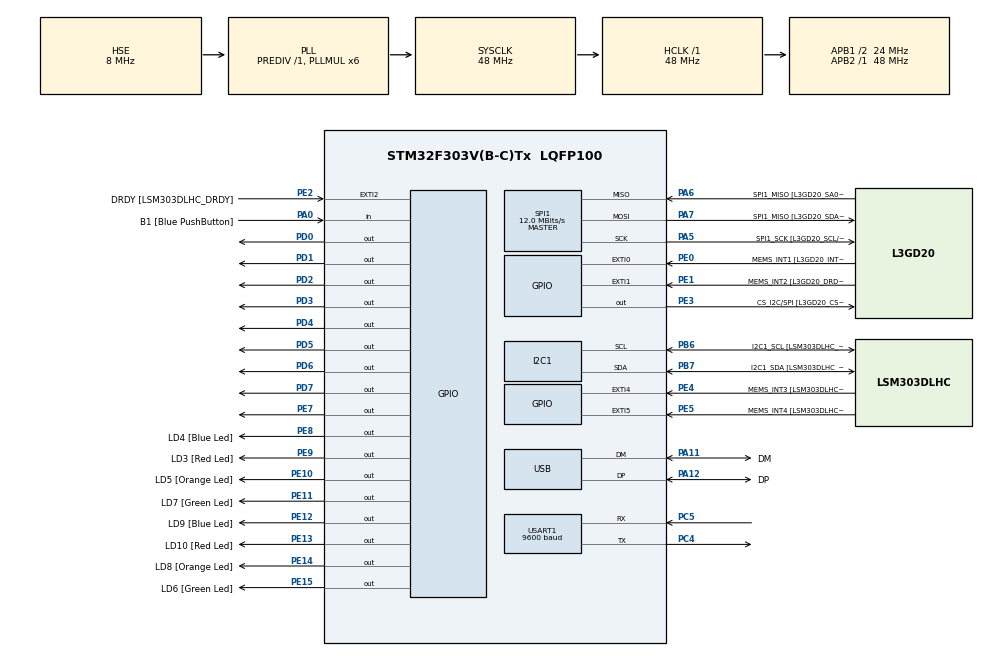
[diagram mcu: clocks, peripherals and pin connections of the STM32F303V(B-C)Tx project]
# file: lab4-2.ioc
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I2C1.Timing=0x2000090E
I2C1.Timing-I2C=0x2000090E
Mcu.Family=STM32F3
Mcu.Name=STM32F303V(B-C)Tx
Mcu.Package=LQFP100
NVIC.PriorityGroup=NVIC_PRIORITYGROUP_1
NVIC.TIM2_IRQn=true\:0\:0\:true\:false\:true\:true\:true\:true
NVIC.TIM4_IRQn=true\:0\:0\:true\:false\:true\:true\:true\:true
NVIC.USART1_IRQn=true\:0\:0\:true\:false\:true\:true\:true\:true
PA0.GPIO_Label=B1 [Blue PushButton]
PA0.Signal=GPIO_Input
PA11.GPIO_Label=DM
PA11.Mode=Device
PA11.Signal=USB_DM
PA12.GPIO_Label=DP
PA12.Mode=Device
PA12.Signal=USB_DP
PA13.GPIO_Label=SWDIO
PA13.Mode=Serial_Wire
PA13.Signal=SYS_JTMS-SWDIO
PA14.GPIO_Label=SWCLK
PA14.Mode=Serial_Wire
PA14.Signal=SYS_JTCK-SWCLK
PA5.GPIO_Label=SPI1_SCK [L3GD20_SCL/SPC]
PA5.Mode=Full_Duplex_Master
PA5.Signal=SPI1_SCK
PA6.GPIO_Label=SPI1_MISO [L3GD20_SA0/SDO]
PA6.Mode=Full_Duplex_Master
PA6.Signal=SPI1_MISO
PA7.GPIO_Label=SPI1_MISO [L3GD20_SDA/SDI/SDO]
PA7.Mode=Full_Duplex_Master
PA7.Signal=SPI1_MOSI
PB3.GPIO_Label=SWO
PB3.Signal=SYS_JTDO-TRACESWO
PB6.GPIO_Label=I2C1_SCL [LSM303DLHC_SCL]
PB6.GPIO_Pu=GPIO_PULLUP
PB6.Mode=I2C
PB6.Signal=I2C1_SCL
PB7.GPIO_Label=I2C1_SDA [LSM303DLHC_SDA]
PB7.GPIO_Pu=GPIO_PULLUP
PB7.Mode=I2C
PB7.Signal=I2C1_SDA
PC14-OSC32_IN.GPIO_Label=OSC32_IN
PC14-OSC32_IN.Signal=RCC_OSC32_IN
PC15-OSC32_OUT.GPIO_Label=OSC32_OUT
PC15-OSC32_OUT.Signal=RCC_OSC32_OUT
PC4.Mode=Asynchronous
PC4.Signal=USART1_TX
PC5.Mode=Asynchronous
PC5.Signal=USART1_RX
PD0.Signal=GPIO_Output
PD1.Signal=GPIO_Output
PD2.Signal=GPIO_Output
PD3.Signal=GPIO_Output
PD4.Signal=GPIO_Output
PD5.Signal=GPIO_Output
PD6.Signal=GPIO_Output
PD7.Signal=GPIO_Output
PE0.GPIO_Label=MEMS_INT1 [L3GD20_INT1]
PE0.GPIO_ModeDefaultEXTI=GPIO_MODE_EVT_RISING
PE0.Signal=GPXTI0
PE1.GPIO_Label=MEMS_INT2 [L3GD20_DRDY/INT2]
PE1.GPIO_ModeDefaultEXTI=GPIO_MODE_EVT_RISING
PE1.Signal=GPXTI1
PE10.GPIO_Label=LD5 [Orange Led]
PE10.Signal=GPIO_Output
PE11.GPIO_Label=LD7 [Green Led]
PE11.Signal=GPIO_Output
PE12.GPIO_Label=LD9 [Blue Led]
PE12.Signal=GPIO_Output
PE13.GPIO_Label=LD10 [Red Led]
PE13.Signal=GPIO_Output
PE14.GPIO_Label=LD8 [Orange Led]
PE14.Signal=GPIO_Output
PE15.GPIO_Label=LD6 [Green Led]
PE15.Signal=GPIO_Output
PE2.GPIO_Label=DRDY [LSM303DLHC_DRDY]
PE2.GPIO_ModeDefaultEXTI=GPIO_MODE_EVT_RISING
PE2.Signal=GPXTI2
PE3.GPIO_Label=CS_I2C/SPI [L3GD20_CS_I2C/SPI]
PE3.Signal=GPIO_Output
PE4.GPIO_Label=MEMS_INT3 [LSM303DLHC_INT1]
PE4.GPIO_ModeDefaultEXTI=GPIO_MODE_EVT_RISING
PE4.Signal=GPXTI4
PE5.GPIO_Label=MEMS_INT4 [LSM303DLHC_INT2]
PE5.GPIO_ModeDefaultEXTI=GPIO_MODE_EVT_RISING
PE5.Signal=GPXTI5
PE7.Signal=GPIO_Output
PE8.GPIO_Label=LD4 [Blue Led]
PE8.Signal=GPIO_Output
PE9.GPIO_Label=LD3 [Red Led]
PE9.Signal=GPIO_Output
PF0-OSC_IN.GPIO_Label=OSC_IN
PF0-OSC_IN.Mode=HSE-External-Clock-Source
PF0-OSC_IN.Signal=RCC_OSC_IN
PF1-OSC_OUT.GPIO_Label=OSC_OUT
PF1-OSC_OUT.Signal=RCC_OSC_OUT
ProjectManager.HeapSize=0x200
ProjectManager.StackSize=0x400
ProjectManager.TargetToolchain=STM32CubeIDE
RCC.AHBFreq_Value=48000000
RCC.APB1CLKDivider=RCC_HCLK_DIV2
RCC.APB1Freq_Value=24000000
RCC.APB1TimFreq_Value=48000000
RCC.APB2Freq_Value=48000000
RCC.APB2TimFreq_Value=48000000
RCC.CortexFreq_Value=48000000
RCC.HCLKFreq_Value=48000000
RCC.HSE_VALUE=8000000
RCC.HSI_VALUE=8000000
RCC.LSE_VALUE=32768
RCC.PLLMUL=RCC_PLL_MUL6
RCC.SYSCLKFreq_VALUE=48000000
RCC.SYSCLKSourceVirtual=RCC_SYSCLKSOURCE_PLLCLK
RCC.USBFreq_Value=48000000
SPI1.BaudRatePrescaler=SPI_BAUDRATEPRESCALER_4
SPI1.BaudRatePrescaler-Full_Duplex_Master=SPI_BAUDRATEPRESCALER_2
SPI1.CalculateBaudRate=12.0 MBits/s
SPI1.CalculateBaudRate-Full_Duplex_Master=24.0 MBits/s
SPI1.Direction=SPI_DIRECTION_2LINES
SPI1.Mode=SPI_MODE_MASTER
SPI1.Mode-Full_Duplex_Master=SPI_MODE_MASTER
SPI1.VirtualType=VM_MASTER
TIM2.Period=99
TIM2.Prescaler=47
TIM4.Period=10000
TIM4.Prescaler=2399
USART1.BaudRate=9600
USART1.VirtualMode-Asynchronous=VM_ASYNC
VP_TIM2_VS_ClockSourceINT.Mode=Internal
VP_TIM4_VS_ClockSourceINT.Mode=Internal
board=STM32F3DISCOVERY

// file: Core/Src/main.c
/* USER CODE BEGIN Header */
/**
  ******************************************************************************
  * @file           : main.c
  * @brief          : Main program body
  ******************************************************************************
  * @attention
  *
  * Copyright (c) 2023 STMicroelectronics.
  * All rights reserved.
  *
  * This software is licensed under terms that can be found in the LICENSE file
  * in the root directory of this software component.
  * If no LICENSE file comes with this software, it is provided AS-IS.
  *
  ******************************************************************************
  */
/* USER CODE END Header */
#include "main.h"

/* USER CODE BEGIN Includes */
#include <stdio.h>
#include <string.h>
/* USER CODE END Includes */

I2C_HandleTypeDef hi2c1;

SPI_HandleTypeDef hspi1;

TIM_HandleTypeDef htim2;
TIM_HandleTypeDef htim4;

UART_HandleTypeDef huart1;

PCD_HandleTypeDef hpcd_USB_FS;

void SystemClock_Config(void);
static void MX_GPIO_Init(void);
static void MX_I2C1_Init(void);
static void MX_SPI1_Init(void);
static void MX_USB_PCD_Init(void);
static void MX_TIM2_Init(void);
static void MX_USART1_UART_Init(void);
static void MX_TIM4_Init(void);

/* USER CODE BEGIN 0 */

unsigned char data[1];
extern int count;
unsigned char buffer[20]="";
unsigned char sentence_1[20]="";
unsigned char sentence_2[20]="";
//unsigned char sentence_1[20]="hi daan its alex";
//unsigned char sentence_2[20]="hi alex Im dan";

extern int sentence_counter = 0;
extern int input_completed = 0;
extern int is_similar = 0;
extern double similarity_percentage = 0;
extern int number_of_words1=0;
extern int number_of_words2=0;

int position = 0;

int contains(char *string1, char *string2) {
    if (strstr(string1, string2) != NULL) {
        return 1;
    } else {
        return 0;
    }
}

//double jaro_winkler_similarity(char* s1, char* s2) {
double jaro_winkler_similarity(unsigned char s1[20], unsigned char s2[20]) {
    int len1 = strlen(s1);
    int len2 = strlen(s2);

	HAL_UART_Transmit(&huart1, s1, len1, 1000);
	HAL_UART_Transmit(&huart1, s2, len2, 1000);

    // calculate matching distance
    int match_distance = (len1 + len2) / 2 - 1;
    int matches = 0;
    int transpositions = 0;
    for (int i = 0; i < len1; i++) {
        for (int j = i - match_distance; j <= i + match_distance; j++) {
            if (j >= 0 && j < len2 && s1[i] == s2[j]) {
                matches++;
                if (i != j) {
                    transpositions++;
                }
                break;
            }
        }
    }

    // calculate Jaro distance
    double jaro_distance = matches / (double)len1;
    if (matches == 0) {
        return jaro_distance;
    }

    // calculate Jaro-Winkler distance
    double prefix_scale_factor = 0.1;
    int prefix_length = 0;
    while (prefix_length < len1 && prefix_length < len2 && s1[prefix_length] == s2[prefix_length]) {
        prefix_length++;
    }

    double winkler_factor = prefix_scale_factor * prefix_length * (1 - jaro_distance);

    return jaro_distance + winkler_factor;
}

int countWords(unsigned char sentence[]) {
    int count = 0;
    int i = 0;
    while (sentence[i] != '\0') {
        if (sentence[i] == ' ') {
            count++;
        }
        i++;
    }
    return count + 1; // add one for the last word
}

void HAL_UART_RxCpltCallback(UART_HandleTypeDef *huart){
	if (huart->Instance == USART1) {
//		if (data[0] != 0x0D) {
		if ((int)data[0] != 13) {
			buffer[position] = data[0];
			buffer[++position] = '\0';
//			HAL_UART_Transmit(&huart1, data, sizeof(data), 1000);

//			position++;
//		}else if (data[0] == 0x0D) {
		}else if ((int)data[0] == 13) {
//			HAL_UART_Transmit(&huart1, buffer, position, 1000);

			switch(sentence_counter){
				case 0:
					strcpy(sentence_1, buffer);
					HAL_GPIO_WritePin(GPIOE, GPIO_PIN_13, 1);

					sentence_counter=1;
//					HAL_UART_Transmit(&huart1, sentence_1, position, 1000);
					break;

				case 1:

					HAL_GPIO_WritePin(GPIOE, GPIO_PIN_14, 1);

					strcpy(sentence_2, buffer);

//					HAL_UART_Transmit(&huart1, sentence_2, position, 1000);

					input_completed = 1;
					similarity_percentage = jaro_winkler_similarity(sentence_1, sentence_2) * 100;
					if(similarity_percentage == 100){
						similarity_percentage = 99.99;
					}
//					similarity_percentage = 91.4523423;

					if(similarity_percentage >= 60){
						is_similar = 1;
					}else{
						is_similar = 0;
					}
					is_similar = 1;
					number_of_words1 = 2*countWords(sentence_1);
					number_of_words2 = 2*countWords(sentence_2);

					break;

			}

			position = 0;
		}
	}
	HAL_UART_Receive_IT(&huart1, data, 1);

}

/* USER CODE END 0 */

int main(void)
{

  /* MCU Configuration--------------------------------------------------------*/

  /* Reset of all peripherals, Initializes the Flash interface and the Systick. */
  HAL_Init();

  /* Configure the system clock */
  SystemClock_Config();

  /* Initialize all configured peripherals */
  MX_GPIO_Init();
  MX_I2C1_Init();
  MX_SPI1_Init();
  MX_USB_PCD_Init();
  MX_TIM2_Init();
  MX_USART1_UART_Init();
  MX_TIM4_Init();
  /* USER CODE BEGIN 2 */
  HAL_TIM_Base_Start_IT(&htim2);
  HAL_TIM_Base_Start_IT(&htim4);
  HAL_UART_Receive_IT(&huart1, data, 1);
//  HAL_UART_Receive_IT(&huart2, str, 100);
  /* USER CODE END 2 */

  /* Infinite loop */
  while (1)
  {

  }
}

void SystemClock_Config(void)
{
  RCC_OscInitTypeDef RCC_OscInitStruct = {0};
  RCC_ClkInitTypeDef RCC_ClkInitStruct = {0};
  RCC_PeriphCLKInitTypeDef PeriphClkInit = {0};

  /** Initializes the RCC Oscillators according to the specified parameters
  * in the RCC_OscInitTypeDef structure.
  */
  RCC_OscInitStruct.OscillatorType = RCC_OSCILLATORTYPE_HSI|RCC_OSCILLATORTYPE_HSE;
  RCC_OscInitStruct.HSEState = RCC_HSE_BYPASS;
  RCC_OscInitStruct.HSEPredivValue = RCC_HSE_PREDIV_DIV1;
  RCC_OscInitStruct.HSIState = RCC_HSI_ON;
  RCC_OscInitStruct.HSICalibrationValue = RCC_HSICALIBRATION_DEFAULT;
  RCC_OscInitStruct.PLL.PLLState = RCC_PLL_ON;
  RCC_OscInitStruct.PLL.PLLSource = RCC_PLLSOURCE_HSE;
  RCC_OscInitStruct.PLL.PLLMUL = RCC_PLL_MUL6;
  if (HAL_RCC_OscConfig(&RCC_OscInitStruct) != HAL_OK)
  {
    Error_Handler();
  }

  /** Initializes the CPU, AHB and APB buses clocks
  */
  RCC_ClkInitStruct.ClockType = RCC_CLOCKTYPE_HCLK|RCC_CLOCKTYPE_SYSCLK
                              |RCC_CLOCKTYPE_PCLK1|RCC_CLOCKTYPE_PCLK2;
  RCC_ClkInitStruct.SYSCLKSource = RCC_SYSCLKSOURCE_PLLCLK;
  RCC_ClkInitStruct.AHBCLKDivider = RCC_SYSCLK_DIV1;
  RCC_ClkInitStruct.APB1CLKDivider = RCC_HCLK_DIV2;
  RCC_ClkInitStruct.APB2CLKDivider = RCC_HCLK_DIV1;

  if (HAL_RCC_ClockConfig(&RCC_ClkInitStruct, FLASH_LATENCY_1) != HAL_OK)
  {
    Error_Handler();
  }
  PeriphClkInit.PeriphClockSelection = RCC_PERIPHCLK_USB|RCC_PERIPHCLK_USART1
                              |RCC_PERIPHCLK_I2C1;
  PeriphClkInit.Usart1ClockSelection = RCC_USART1CLKSOURCE_PCLK2;
  PeriphClkInit.I2c1ClockSelection = RCC_I2C1CLKSOURCE_HSI;
  PeriphClkInit.USBClockSelection = RCC_USBCLKSOURCE_PLL;
  if (HAL_RCCEx_PeriphCLKConfig(&PeriphClkInit) != HAL_OK)
  {
    Error_Handler();
  }
}

static void MX_I2C1_Init(void)
{

  hi2c1.Instance = I2C1;
  hi2c1.Init.Timing = 0x2000090E;
  hi2c1.Init.OwnAddress1 = 0;
  hi2c1.Init.AddressingMode = I2C_ADDRESSINGMODE_7BIT;
  hi2c1.Init.DualAddressMode = I2C_DUALADDRESS_DISABLE;
  hi2c1.Init.OwnAddress2 = 0;
  hi2c1.Init.OwnAddress2Masks = I2C_OA2_NOMASK;
  hi2c1.Init.GeneralCallMode = I2C_GENERALCALL_DISABLE;
  hi2c1.Init.NoStretchMode = I2C_NOSTRETCH_DISABLE;
  if (HAL_I2C_Init(&hi2c1) != HAL_OK)
  {
    Error_Handler();
  }

  /** Configure Analogue filter
  */
  if (HAL_I2CEx_ConfigAnalogFilter(&hi2c1, I2C_ANALOGFILTER_ENABLE) != HAL_OK)
  {
    Error_Handler();
  }

  /** Configure Digital filter
  */
  if (HAL_I2CEx_ConfigDigitalFilter(&hi2c1, 0) != HAL_OK)
  {
    Error_Handler();
  }

}

static void MX_SPI1_Init(void)
{

  /* SPI1 parameter configuration*/
  hspi1.Instance = SPI1;
  hspi1.Init.Mode = SPI_MODE_MASTER;
  hspi1.Init.Direction = SPI_DIRECTION_2LINES;
  hspi1.Init.DataSize = SPI_DATASIZE_4BIT;
  hspi1.Init.CLKPolarity = SPI_POLARITY_LOW;
  hspi1.Init.CLKPhase = SPI_PHASE_1EDGE;
  hspi1.Init.NSS = SPI_NSS_SOFT;
  hspi1.Init.BaudRatePrescaler = SPI_BAUDRATEPRESCALER_4;
  hspi1.Init.FirstBit = SPI_FIRSTBIT_MSB;
  hspi1.Init.TIMode = SPI_TIMODE_DISABLE;
  hspi1.Init.CRCCalculation = SPI_CRCCALCULATION_DISABLE;
  hspi1.Init.CRCPolynomial = 7;
  hspi1.Init.CRCLength = SPI_CRC_LENGTH_DATASIZE;
  hspi1.Init.NSSPMode = SPI_NSS_PULSE_ENABLE;
  if (HAL_SPI_Init(&hspi1) != HAL_OK)
  {
    Error_Handler();
  }

}

static void MX_TIM2_Init(void)
{

  TIM_ClockConfigTypeDef sClockSourceConfig = {0};
  TIM_MasterConfigTypeDef sMasterConfig = {0};

  htim2.Instance = TIM2;
  htim2.Init.Prescaler = 47;
  htim2.Init.CounterMode = TIM_COUNTERMODE_UP;
  htim2.Init.Period = 99;
  htim2.Init.ClockDivision = TIM_CLOCKDIVISION_DIV1;
  htim2.Init.AutoReloadPreload = TIM_AUTORELOAD_PRELOAD_DISABLE;
  if (HAL_TIM_Base_Init(&htim2) != HAL_OK)
  {
    Error_Handler();
  }
  sClockSourceConfig.ClockSource = TIM_CLOCKSOURCE_INTERNAL;
  if (HAL_TIM_ConfigClockSource(&htim2, &sClockSourceConfig) != HAL_OK)
  {
    Error_Handler();
  }
  sMasterConfig.MasterOutputTrigger = TIM_TRGO_RESET;
  sMasterConfig.MasterSlaveMode = TIM_MASTERSLAVEMODE_DISABLE;
  if (HAL_TIMEx_MasterConfigSynchronization(&htim2, &sMasterConfig) != HAL_OK)
  {
    Error_Handler();
  }

}

static void MX_TIM4_Init(void)
{

  TIM_ClockConfigTypeDef sClockSourceConfig = {0};
  TIM_MasterConfigTypeDef sMasterConfig = {0};

  htim4.Instance = TIM4;
  htim4.Init.Prescaler = 2399;
  htim4.Init.CounterMode = TIM_COUNTERMODE_UP;
  htim4.Init.Period = 10000;
  htim4.Init.ClockDivision = TIM_CLOCKDIVISION_DIV1;
  htim4.Init.AutoReloadPreload = TIM_AUTORELOAD_PRELOAD_DISABLE;
  if (HAL_TIM_Base_Init(&htim4) != HAL_OK)
  {
    Error_Handler();
  }
  sClockSourceConfig.ClockSource = TIM_CLOCKSOURCE_INTERNAL;
  if (HAL_TIM_ConfigClockSource(&htim4, &sClockSourceConfig) != HAL_OK)
  {
    Error_Handler();
  }
  sMasterConfig.MasterOutputTrigger = TIM_TRGO_RESET;
  sMasterConfig.MasterSlaveMode = TIM_MASTERSLAVEMODE_DISABLE;
  if (HAL_TIMEx_MasterConfigSynchronization(&htim4, &sMasterConfig) != HAL_OK)
  {
    Error_Handler();
  }

}

static void MX_USART1_UART_Init(void)
{

  huart1.Instance = USART1;
  huart1.Init.BaudRate = 9600;
  huart1.Init.WordLength = UART_WORDLENGTH_8B;
  huart1.Init.StopBits = UART_STOPBITS_1;
  huart1.Init.Parity = UART_PARITY_NONE;
  huart1.Init.Mode = UART_MODE_TX_RX;
  huart1.Init.HwFlowCtl = UART_HWCONTROL_NONE;
  huart1.Init.OverSampling = UART_OVERSAMPLING_16;
  huart1.Init.OneBitSampling = UART_ONE_BIT_SAMPLE_DISABLE;
  huart1.AdvancedInit.AdvFeatureInit = UART_ADVFEATURE_NO_INIT;
  if (HAL_UART_Init(&huart1) != HAL_OK)
  {
    Error_Handler();
  }

}

static void MX_USB_PCD_Init(void)
{

  hpcd_USB_FS.Instance = USB;
  hpcd_USB_FS.Init.dev_endpoints = 8;
  hpcd_USB_FS.Init.speed = PCD_SPEED_FULL;
  hpcd_USB_FS.Init.phy_itface = PCD_PHY_EMBEDDED;
  hpcd_USB_FS.Init.low_power_enable = DISABLE;
  hpcd_USB_FS.Init.battery_charging_enable = DISABLE;
  if (HAL_PCD_Init(&hpcd_USB_FS) != HAL_OK)
  {
    Error_Handler();
  }

}

static void MX_GPIO_Init(void)
{
  GPIO_InitTypeDef GPIO_InitStruct = {0};

  /* GPIO Ports Clock Enable */
  __HAL_RCC_GPIOE_CLK_ENABLE();
  __HAL_RCC_GPIOC_CLK_ENABLE();
  __HAL_RCC_GPIOF_CLK_ENABLE();
  __HAL_RCC_GPIOA_CLK_ENABLE();
  __HAL_RCC_GPIOD_CLK_ENABLE();
  __HAL_RCC_GPIOB_CLK_ENABLE();

  /*Configure GPIO pin Output Level */
  HAL_GPIO_WritePin(GPIOE, CS_I2C_SPI_Pin|GPIO_PIN_7|LD4_Pin|LD3_Pin
                          |LD5_Pin|LD7_Pin|LD9_Pin|LD10_Pin
                          |LD8_Pin|LD6_Pin, GPIO_PIN_RESET);

  /*Configure GPIO pin Output Level */
  HAL_GPIO_WritePin(GPIOD, GPIO_PIN_0|GPIO_PIN_1|GPIO_PIN_2|GPIO_PIN_3
                          |GPIO_PIN_4|GPIO_PIN_5|GPIO_PIN_6|GPIO_PIN_7, GPIO_PIN_RESET);

  /*Configure GPIO pins : DRDY_Pin MEMS_INT3_Pin MEMS_INT4_Pin MEMS_INT1_Pin
                           MEMS_INT2_Pin */
  GPIO_InitStruct.Pin = DRDY_Pin|MEMS_INT3_Pin|MEMS_INT4_Pin|MEMS_INT1_Pin
                          |MEMS_INT2_Pin;
  GPIO_InitStruct.Mode = GPIO_MODE_EVT_RISING;
  GPIO_InitStruct.Pull = GPIO_NOPULL;
  HAL_GPIO_Init(GPIOE, &GPIO_InitStruct);

  /*Configure GPIO pins : CS_I2C_SPI_Pin PE7 LD4_Pin LD3_Pin
                           LD5_Pin LD7_Pin LD9_Pin LD10_Pin
                           LD8_Pin LD6_Pin */
  GPIO_InitStruct.Pin = CS_I2C_SPI_Pin|GPIO_PIN_7|LD4_Pin|LD3_Pin
                          |LD5_Pin|LD7_Pin|LD9_Pin|LD10_Pin
                          |LD8_Pin|LD6_Pin;
  GPIO_InitStruct.Mode = GPIO_MODE_OUTPUT_PP;
  GPIO_InitStruct.Pull = GPIO_NOPULL;
  GPIO_InitStruct.Speed = GPIO_SPEED_FREQ_LOW;
  HAL_GPIO_Init(GPIOE, &GPIO_InitStruct);

  /*Configure GPIO pin : B1_Pin */
  GPIO_InitStruct.Pin = B1_Pin;
  GPIO_InitStruct.Mode = GPIO_MODE_INPUT;
  GPIO_InitStruct.Pull = GPIO_NOPULL;
  HAL_GPIO_Init(B1_GPIO_Port, &GPIO_InitStruct);

  /*Configure GPIO pins : PD0 PD1 PD2 PD3
                           PD4 PD5 PD6 PD7 */
  GPIO_InitStruct.Pin = GPIO_PIN_0|GPIO_PIN_1|GPIO_PIN_2|GPIO_PIN_3
                          |GPIO_PIN_4|GPIO_PIN_5|GPIO_PIN_6|GPIO_PIN_7;
  GPIO_InitStruct.Mode = GPIO_MODE_OUTPUT_PP;
  GPIO_InitStruct.Pull = GPIO_NOPULL;
  GPIO_InitStruct.Speed = GPIO_SPEED_FREQ_LOW;
  HAL_GPIO_Init(GPIOD, &GPIO_InitStruct);

}

void Error_Handler(void)
{
  __disable_irq();
  while (1)
  {
  }
}
